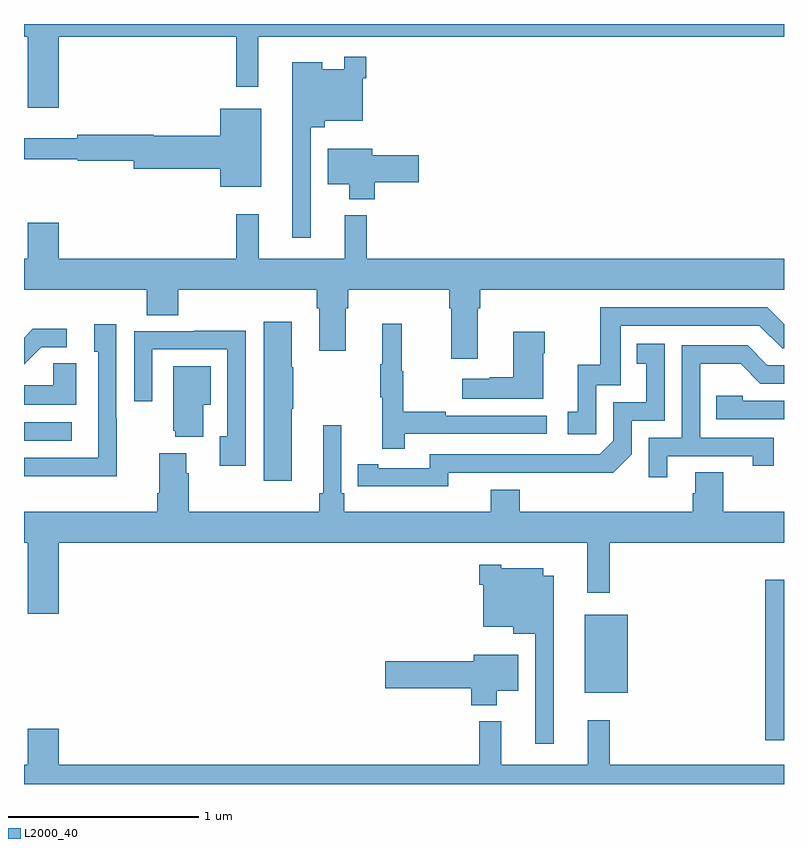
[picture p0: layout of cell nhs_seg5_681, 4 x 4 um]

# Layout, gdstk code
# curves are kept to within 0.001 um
import gdstk
lib = gdstk.Library(unit=1e-6, precision=1e-09)
def R(c, l, rs):  # rectangles x0, y0, x1, y1
    for r in rs: c.add(gdstk.rectangle(r[:2], r[2:], *l))
def P(c, l, *ps):  # polygons
    for p in ps: c.add(gdstk.Polygon(p, *l))
L2000_40 = (2000, 40)

nhs_seg5_681 = lib.new_cell('nhs_seg5_681')
R(nhs_seg5_681, L2000_40, [(156.901,881.028,157,881.875), (155.951,881.279,156.178,881.689), (153,882.606,153.25,882.702)])
P(nhs_seg5_681, L2000_40, [(153.184,884.732),(154.117,884.732),(154.117,884.469),(154.234,884.469),(154.234,884.732),(157,884.732),(157,884.799),(153,884.799),(153,884.732),(153.02,884.732),(153.02,884.358),(153.184,884.358)],
  [(154.509,884.255),(154.583,884.255),(154.583,884.291),(154.782,884.291),(154.782,884.513),(154.802,884.513),(154.802,884.626),(154.686,884.626),(154.686,884.56),(154.57,884.56),(154.57,884.599),(154.412,884.599),(154.412,883.674),(154.509,883.674)],
  [(154.249,884.353),(154.034,884.353),(154.034,884.21),(153.682,884.21),(153.682,884.216),(153.28,884.216),(153.28,884.197),(153,884.197),(153,884.088),(153.282,884.088),(153.282,884.08),(153.578,884.08),(153.578,884.038),(154.034,884.038),(154.034,883.943),(154.249,883.943)],
  [(154.847,883.966),(155.077,883.966),(155.077,884.108),(154.834,884.108),(154.834,884.143),(154.598,884.143),(154.598,883.955),(154.712,883.955),(154.712,883.877),(154.847,883.877)],
  [(155.389,883.304),(155.402,883.304),(155.402,883.4),(157,883.4),(157,883.564),(154.805,883.564),(154.805,883.792),(154.688,883.792),(154.688,883.564),(154.235,883.564),(154.235,883.798),(154.117,883.798),(154.117,883.564),(153.184,883.564),(153.184,883.753),(153.02,883.753),(153.02,883.564),(153,883.564),(153,883.4),(153.647,883.4),(153.647,883.267),(153.812,883.267),(153.812,883.4),(154.541,883.4),(154.541,883.304),(154.553,883.304),(154.553,883.08),(154.693,883.08),(154.693,883.304),(154.706,883.304),(154.706,883.4),(155.237,883.4),(155.237,883.304),(155.249,883.304),(155.249,883.038),(155.389,883.038)],
  [(156.012,882.897),(156.141,882.897),(156.141,883.212),(156.87,883.212),(156.99,883.092),(157,883.092),(157,883.22),(156.912,883.308),(156.033,883.308),(156.033,883.006),(155.915,883.006),(155.915,882.759),(155.862,882.759),(155.862,882.639),(156.012,882.639)],
  [(154.408,882.775),(154.416,882.775),(154.416,882.992),(154.408,882.992),(154.408,883.231),(154.262,883.231),(154.262,882.396),(154.408,882.396)],
  [(155.003,882.642),(155.752,882.642),(155.752,882.738),(155.219,882.738),(155.219,882.758),(154.996,882.758),(154.996,882.972),(154.988,882.972),(154.988,883.222),(154.886,883.222),(154.886,883.009),(154.875,883.009),(154.875,882.835),(154.886,882.835),(154.886,882.564),(155.003,882.564)],
  [(153.489,882.725),(153.486,882.725),(153.486,883.219),(153.371,883.219),(153.371,883.074),(153.39,883.074),(153.39,882.516),(153,882.516),(153,882.42),(153.025,882.42),(153.025,882.419),(153.489,882.419)],
  [(153.091,883.098),(153.226,883.098),(153.226,883.196),(153.047,883.196),(153,883.149),(153,883.007)],
  [(154.167,883.184),(153.895,883.184),(153.895,883.182),(153.579,883.182),(153.579,882.813),(153.675,882.813),(153.675,883.086),(154.071,883.086),(154.071,882.63),(154.031,882.63),(154.031,882.474),(154.167,882.474)],
  [(155.734,883.067),(155.742,883.067),(155.742,883.18),(155.576,883.18),(155.576,882.941),(155.45,882.941),(155.45,882.931),(155.307,882.931),(155.307,882.827),(155.734,882.827)],
  [(155.232,882.438),(156.1,882.437),(156.198,882.534),(156.198,882.711),(156.372,882.711),(156.372,883.117),(156.226,883.117),(156.226,883.011),(156.275,883.011),(156.275,882.807),(156.102,882.807),(156.102,882.606),(156.03,882.534),(155.136,882.534),(155.136,882.462),(154.864,882.462),(154.864,882.482),(154.756,882.482),(154.756,882.366),(155.232,882.365)],
  [(156.385,882.525),(156.836,882.525),(156.836,882.474),(156.947,882.474),(156.947,882.621),(156.558,882.621),(156.558,883.01),(156.772,883.01),(156.876,882.906),(157,882.906),(157,883.002),(156.913,883.002),(156.808,883.107),(156.462,883.107),(156.462,882.621),(156.288,882.621),(156.288,882.414),(156.385,882.414)],
  [(153.274,883.013),(153.153,883.013),(153.153,882.898),(153,882.898),(153,882.794),(153.274,882.794)],
  [(153.943,882.794),(153.982,882.794),(153.982,882.997),(153.785,882.997),(153.785,882.657),(153.797,882.657),(153.797,882.626),(153.943,882.626)],
  [(157,882.816),(156.783,882.816),(156.783,882.843),(156.643,882.843),(156.643,882.72),(157,882.72)],
  [(153.184,882.068),(155.965,882.068),(155.965,881.805),(156.083,881.805),(156.083,882.068),(157,882.068),(157,882.232),(156.681,882.232),(156.681,882.44),(156.533,882.44),(156.533,882.33),(156.521,882.33),(156.521,882.232),(155.609,882.232),(155.609,882.349),(155.456,882.349),(155.456,882.232),(154.685,882.232),(154.685,882.328),(154.671,882.328),(154.671,882.688),(154.574,882.688),(154.574,882.328),(154.555,882.328),(154.555,882.232),(153.866,882.232),(153.866,882.434),(153.853,882.434),(153.853,882.541),(153.713,882.541),(153.713,882.328),(153.701,882.328),(153.701,882.232),(153,882.232),(153,882.068),(153.02,882.068),(153.02,881.694),(153.184,881.694)],
  [(155.788,881.896),(155.734,881.896),(155.734,881.935),(155.511,881.935),(155.511,881.953),(155.396,881.953),(155.396,881.849),(155.417,881.849),(155.417,881.627),(155.576,881.627),(155.576,881.591),(155.691,881.591),(155.691,881.01),(155.788,881.01)],
  [(155.488,881.291),(155.602,881.291),(155.602,881.479),(155.366,881.479),(155.366,881.444),(154.902,881.444),(154.902,881.302),(155.354,881.302),(155.354,881.213),(155.488,881.213)],
  [(157,880.9),(156.083,880.9),(156.083,881.134),(155.966,881.134),(155.966,880.9),(155.513,880.9),(155.513,881.128),(155.395,881.128),(155.395,880.9),(153.184,880.9),(153.184,881.089),(153.02,881.089),(153.02,880.9),(153,880.9),(153,880.799),(157,880.799)])

lib.write_gds('nhs_seg5_681.gds')
